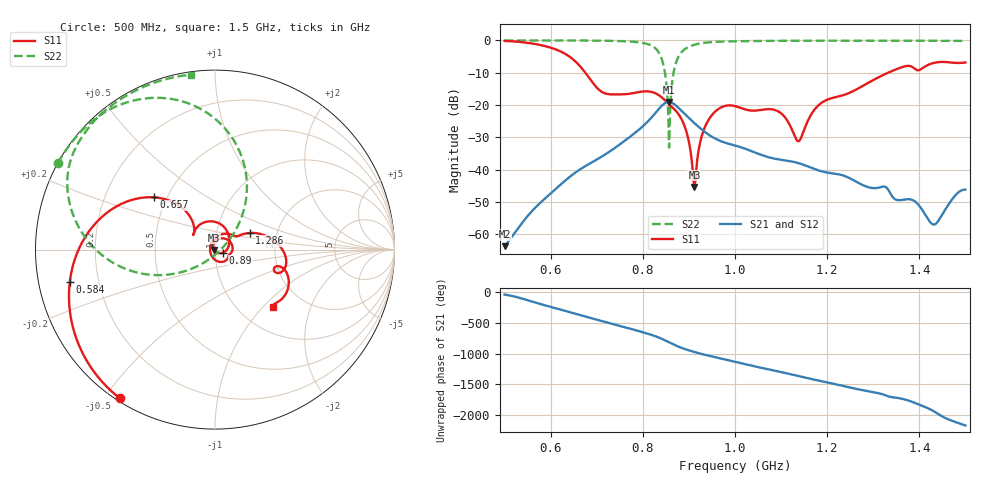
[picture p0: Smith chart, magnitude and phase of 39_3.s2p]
! TOUCHSTONE file generated by CST MICROWAVE STUDIO
! Date and time: Fri Oct  2 16:34:19 2020
! Project name: Scenario_1_Free_Space_out_of_line.cst
! Parameters = {Lambda=346.42; Step_1=17.321; dy1=-311.318; dx1=520; L_HA=400; MT=2.54; Rad_Dielectric=30; Rad_Lower=7.3; Rad_Upper=30; a_HA=580; a_WG=246; b_HA=500; b_WG=121; c_HA=0; c_WG=187; d_feed=85; h_feed=15; h_lower=18; h_upper=40}
! Header version: 2018
! Port assignment regex: !\s*Touchstone port\s*([0-9]+)\s*=\s*(CST MWS port|CST DS port)\s*([0-9]+|Zmin|Zmax)\s*\(\"(.*)\"\)(\s*mode\s*([0-9]+))?.*
! Touchstone port assignment:
! Touchstone port 1 = CST MWS port 1 ("")
! Touchstone port 2 = CST MWS port 2 ("")
# GHz S DB R 50
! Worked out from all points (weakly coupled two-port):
!   1003 points, 500 MHz to 1.5 GHz, reference 50 ohm
!   highest |S21| = -19.00 dB at 856 MHz (marker M1); lowest = -63.7 dB at 500 MHz (marker M2)
!   lowest |S11| = -45.4 dB at 912 MHz (marker M3), VSWR 1.01, Z = 49.5 - j0.27 ohm
!   |S11| at or under -10 dB: 675.3 MHz to 1.332 GHz (656.8 MHz wide, 65.4 % of centre)
!   |S22| runs from -33.2 to 0.0 dB; largest |S21 - S12| = 3e-05
!   S11 on the Smith chart (normalised r, x): 500 MHz: 0.01, -0.55; 584 MHz: 0.09, -0.11; 657 MHz: 0.42, +0.31; 890 MHz: 1.09, -0.04; 1.286 GHz: 1.45, +0.28; 1.5 GHz: 1.42, -1.15
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0.5  -0.15 -122.6  -63.65 -43.1  -63.65 -43.1  -0.01 151.2
0.584  -1.62 -167.3  -49.37 149.4  -49.37 149.4  -0.02 145.3
0.657  -6.97 139.5  -40.54 -1.8  -40.54 -1.8  -0.04 139.3
0.667  -8.52 133.1  -39.59 -23.0  -39.59 -23.0  -0.04 138.3
0.714  -16.16 138.1  -35.66 -118.5  -35.66 -118.5  -0.09 133.0
0.779  -16.31 138.2  -29.05 110.1  -29.05 110.1  -0.41 120.5
0.834  -16.87 75.9  -21.32 -19.0  -21.32 -19.0  -3.59 83.9
0.846  -18.25 57.0  -19.58 -58.6  -19.58 -58.6  -8.44 62.0
0.856  -19.61 42.4  -19.00 -95.9  -19.00 -95.9  -27.49 12.7
0.869  -21.38 22.3  -19.80 -142.9  -19.80 -142.9  -8.41 -158.2
0.89  -26.29 -20.2  -22.61 155.8  -22.61 155.8  -2.82 174.9
0.912  -45.36 -149.6  -25.59 104.2  -25.59 104.2  -1.33 161.4
0.926  -30.55 107.5  -27.33 75.7  -27.33 75.7  -0.89 155.8
0.942  -24.73 75.9  -29.08 46.2  -29.08 46.2  -0.61 151.0
1  -20.31 -3.5  -32.51 -52.7  -32.51 -52.7  -0.26 140.1
1.093  -21.90 -58.2  -36.76 150.4  -36.76 150.4  -0.12 130.3
1.137  -31.18 -176.3  -37.93 74.7  -37.93 74.7  -0.11 126.5
1.167  -22.52 80.6  -39.48 23.2  -39.48 23.2  -0.09 124.2
1.286  -13.36 25.6  -45.26 -167.6  -45.26 -167.6  -0.08 115.1
1.334  -9.88 10.7  -46.55 101.8  -46.52 102.1  -0.09 111.4
1.432  -6.94 -24.0  -56.98 -139.5  -56.98 -139.5  -0.11 103.7
1.5  -6.82 -44.7  -46.14 -7.6  -46.14 -7.6  -0.14 97.9
